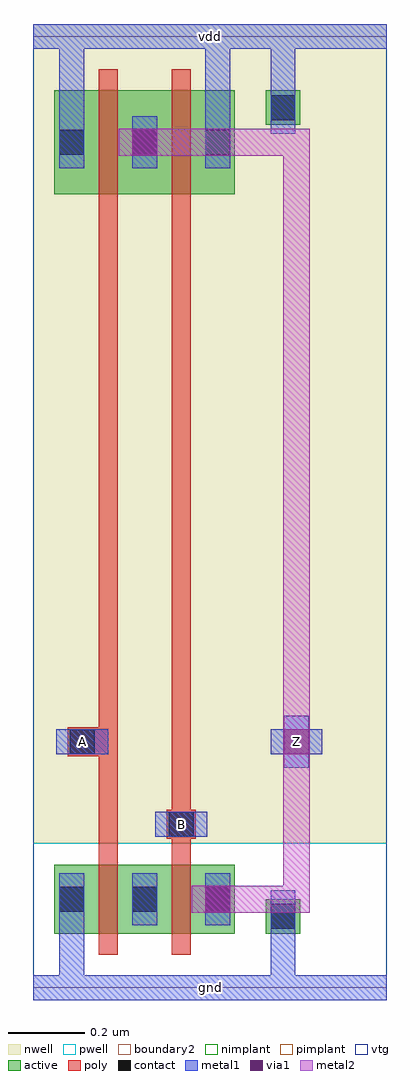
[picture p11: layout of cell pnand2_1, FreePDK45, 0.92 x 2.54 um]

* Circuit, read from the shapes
.subckt pnand2_1 A B Z gnd vdd
M1 nmos_m1_w0_180_a_p_2/D A gnd gnd nfet w=0.18u l=0.05u
M2 Z B nmos_m1_w0_180_a_p_2/D gnd nfet w=0.18u l=0.05u
M3 Z A vdd vdd pfet w=0.27u l=0.05u
M4 vdd B Z vdd pfet w=0.27u l=0.05u
.ends

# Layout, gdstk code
import gdstk
lib = gdstk.Library(unit=1e-6, precision=5e-10)
def R(c, l, rs):  # rectangles x0, y0, x1, y1
    for r in rs: c.add(gdstk.rectangle(r[:2], r[2:], *l))
active = (1, 0)
pwell = (2, 0)
nwell = (3, 0)
nimplant = (4, 0)
pimplant = (5, 0)
vtg = (6, 0)
poly = (9, 0)
contact = (10, 0)
metal1 = (11, 0)
via1 = (12, 0)
metal2 = (13, 0)
boundary2 = (239, 0)

contact_9 = lib.new_cell('contact_9')
R(contact_9, active, [(0,0.0225,0.09,0.1125)])
R(contact_9, nwell, [(-0.055,-0.0325,0.145,0.1675)])
R(contact_9, pimplant, [(0,0.0225,0.09,0.1125)])
R(contact_9, contact, [(0.0125,0.035,0.0775,0.1)])
R(contact_9, metal1, [(0.0125,0,0.0775,0.135)])

pmos_m1_w0_270_a_p = lib.new_cell('pmos_m1_w0_270_a_p')
R(pmos_m1_w0_270_a_p, active, [(0,0,0.28,0.27)])
R(pmos_m1_w0_270_a_p, nwell, [(-0.055,-0.055,0.335,0.325)])
R(pmos_m1_w0_270_a_p, pimplant, [(0,0,0.28,0.27)])
R(pmos_m1_w0_270_a_p, vtg, [(-0.055,-0.055,0.335,0.325)])
R(pmos_m1_w0_270_a_p, poly, [(0.115,-0.055,0.165,0.325), (0.115,-0.055,0.165,0.325)])
R(pmos_m1_w0_270_a_p, metal1, [(0.0125,0.0675,0.0775,0.2025), (0.2025,0.0675,0.2675,0.2025)])
pmos_m1_w0_270_a_p.add(gdstk.Reference(contact_9, (0,0.0675)))
pmos_m1_w0_270_a_p.add(gdstk.Reference(contact_9, (0.19,0.0675)))
pmos_m1_w0_270_a_p.add(gdstk.Label('G', (0.14,0.135), layer=9, texttype=0))
pmos_m1_w0_270_a_p.add(gdstk.Label('S', (0.045,0.135), layer=11, texttype=0))
pmos_m1_w0_270_a_p.add(gdstk.Label('D', (0.235,0.135), layer=11, texttype=0))

contact_14 = lib.new_cell('contact_14')
R(contact_14, active, [(0,0.0225,0.09,0.1125)])
R(contact_14, pwell, [(-0.055,-0.0325,0.145,0.1675)])
R(contact_14, nimplant, [(0,0.0225,0.09,0.1125)])
R(contact_14, contact, [(0.0125,0.035,0.0775,0.1)])
R(contact_14, metal1, [(0.0125,0,0.0775,0.135)])

nmos_m1_w0_180_a_p = lib.new_cell('nmos_m1_w0_180_a_p')
R(nmos_m1_w0_180_a_p, active, [(0,0,0.28,0.18)])
R(nmos_m1_w0_180_a_p, pwell, [(-0.055,-0.055,0.335,0.235)])
R(nmos_m1_w0_180_a_p, nimplant, [(0,0,0.28,0.18)])
R(nmos_m1_w0_180_a_p, vtg, [(-0.055,-0.055,0.335,0.235)])
R(nmos_m1_w0_180_a_p, poly, [(0.115,-0.055,0.165,0.235), (0.115,-0.055,0.165,0.235)])
R(nmos_m1_w0_180_a_p, metal1, [(0.0125,0.0225,0.0775,0.1575), (0.2025,0.0225,0.2675,0.1575)])
nmos_m1_w0_180_a_p.add(gdstk.Reference(contact_14, (0,0.0225)))
nmos_m1_w0_180_a_p.add(gdstk.Reference(contact_14, (0.19,0.0225)))
nmos_m1_w0_180_a_p.add(gdstk.Label('G', (0.14,0.09), layer=9, texttype=0))
nmos_m1_w0_180_a_p.add(gdstk.Label('S', (0.045,0.09), layer=11, texttype=0))
nmos_m1_w0_180_a_p.add(gdstk.Label('D', (0.235,0.09), layer=11, texttype=0))

contact_18 = lib.new_cell('contact_18')
R(contact_18, active, [(0,0.0225,0.09,0.1125)])
R(contact_18, nwell, [(-0.055,-0.0325,0.145,0.1675)])
R(contact_18, nimplant, [(0,0.0225,0.09,0.1125)])
R(contact_18, contact, [(0.0125,0.035,0.0775,0.1)])
R(contact_18, metal1, [(0.0125,0,0.0775,0.135)])

contact_19 = lib.new_cell('contact_19')
R(contact_19, active, [(0,0.0225,0.09,0.1125)])
R(contact_19, pwell, [(-0.055,-0.0325,0.145,0.1675)])
R(contact_19, pimplant, [(0,0.0225,0.09,0.1125)])
R(contact_19, contact, [(0.0125,0.035,0.0775,0.1)])
R(contact_19, metal1, [(0.0125,0,0.0775,0.135)])

contact_10 = lib.new_cell('contact_10')
R(contact_10, poly, [(0.03,0,0.105,0.075)])
R(contact_10, contact, [(0.035,0.005,0.1,0.07)])
R(contact_10, metal1, [(0,0.005,0.135,0.07)])

contact_20 = lib.new_cell('contact_20')
R(contact_20, metal1, [(0.035,0,0.1,0.135)])
R(contact_20, via1, [(0.035,0.035,0.1,0.1)])
R(contact_20, metal2, [(0,0.0325,0.135,0.1025)])

contact_16 = lib.new_cell('contact_16')
R(contact_16, metal1, [(0,0.035,0.135,0.1)])
R(contact_16, via1, [(0.035,0.035,0.1,0.1)])
R(contact_16, metal2, [(0.0325,0,0.1025,0.135)])

pnand2_1 = lib.new_cell('pnand2_1')
R(pnand2_1, pwell, [(0,-0.0325,0.92,0.375)])
R(pnand2_1, nwell, [(0,0.375,0.92,2.5075)])
R(pnand2_1, vtg, [(0,-0.0325,0.92,0.375), (0,0.375,0.92,2.5075)])
R(pnand2_1, poly, [(0.17,0.085,0.22,2.01), (0.36,0.085,0.41,2.01), (0.36,0.3875,0.385,0.4625), (0.1275,0.6025,0.17,0.6775)])
R(pnand2_1, metal1, [(0,-0.0325,0.92,0.0325), (0.0675,-0.0325,0.1325,0.1625), (0.6175,0,0.6825,0.185), (0.3175,0.3925,0.4525,0.4575), (0.6525,0.5725,0.7175,0.7075), (0.06,0.6075,0.195,0.6725), (0.0675,2.1325,0.1325,2.5075), (0.4475,2.1325,0.5125,2.5075), (0.6175,2.29,0.6825,2.475), (0,2.4425,0.92,2.5075)])
R(pnand2_1, metal2, [(0.48,0.195,0.685,0.265), (0.65,0.195,0.72,0.265), (0.65,0.23,0.72,0.64), (0.65,0.64,0.72,2.2), (0.29,2.165,0.685,2.235), (0.65,2.165,0.72,2.235)])
R(pnand2_1, boundary2, [(0,0,0.92,2.475)])
pnand2_1.add(gdstk.Reference(pmos_m1_w0_270_a_p, (0.055,2.065)))
pnand2_1.add(gdstk.Reference(pmos_m1_w0_270_a_p, (0.245,2.065)))
pnand2_1.add(gdstk.Reference(nmos_m1_w0_180_a_p, (0.055,0.14)))
pnand2_1.add(gdstk.Reference(nmos_m1_w0_180_a_p, (0.245,0.14)))
pnand2_1.add(gdstk.Reference(contact_18, (0.605,2.2225)))
pnand2_1.add(gdstk.Reference(contact_19, (0.605,0.1175)))
pnand2_1.add(gdstk.Reference(contact_10, (0.3175,0.3875)))
pnand2_1.add(gdstk.Reference(contact_10, (0.06,0.6025)))
pnand2_1.add(gdstk.Reference(contact_20, (0.2225,2.1325)))
pnand2_1.add(gdstk.Reference(contact_20, (0.4125,0.1625)))
pnand2_1.add(gdstk.Reference(contact_16, (0.6175,0.5725)))
pnand2_1.add(gdstk.Label('gnd', (0.46,0), layer=11, texttype=0))
pnand2_1.add(gdstk.Label('vdd', (0.46,2.475), layer=11, texttype=0))
pnand2_1.add(gdstk.Label('B', (0.385,0.425), layer=11, texttype=0))
pnand2_1.add(gdstk.Label('A', (0.1275,0.64), layer=11, texttype=0))
pnand2_1.add(gdstk.Label('Z', (0.685,0.64), layer=11, texttype=0))

lib.write_gds('pnand2_1.gds')
